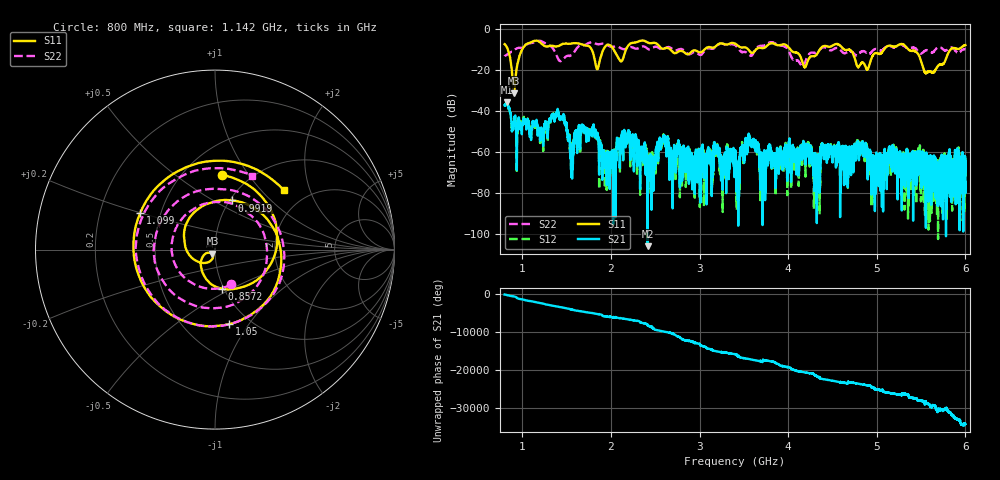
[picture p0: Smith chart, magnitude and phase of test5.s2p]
!Keysight Technologies N9923A: A.08.15
!Date: Friday, 16 February 2024 23:04:52
!Timezone: (GMT-05:00) Eastern Time (US & Canada)
!Model: N9923A
!Serial: MY52412730
!GPS Latitude:
!GPS Longitude:
!GPS TimeStamp: 0001-01-01 00:00:00Z
!GPS Seconds Since Last Read: 0
!CHECKSUM:0212814817
!Correction: S11(ON Q)S21(ON Q)S12(ON Q)S22(ON Q)
!S2P File: Measurements:S11,S21,S12,S22:
# Hz S DB R 50
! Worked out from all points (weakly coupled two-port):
!   10001 points, 800 MHz to 6 GHz, reference 50 ohm
!   highest |S21| = -35.91 dB at 827 MHz (marker M1); lowest = -105.9 dB at 2.415 GHz (marker M2)
!   lowest |S11| = -31.4 dB at 907.6 MHz (marker M3), VSWR 1.06, Z = 48.5 - j2.22 ohm
!   |S11| at or under -10 dB: 2.667 GHz to 3.06 GHz (393.4 MHz wide, 13.7 % of centre); 4.625 GHz to 5.085 GHz (460.2 MHz wide, 9.48 % of centre); 5.353 GHz to 5.838 GHz (485 MHz wide, 8.67 % of centre) (the widest 3 of 8)
!   |S22| runs from -18.7 to -6.0 dB; largest |S21 - S12| = 0.0015
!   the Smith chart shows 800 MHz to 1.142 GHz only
!   S11 on the Smith chart (normalised r, x): 800 MHz: 0.76, +0.76; 857.2 MHz: 0.98, -0.45; 991.9 MHz: 1.02, +0.61; 1.05 GHz: 0.80, -0.81; 1.099 GHz: 0.38, +0.20; 1.142 GHz: 1.52, +1.35
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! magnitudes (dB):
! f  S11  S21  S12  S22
! 800 MHz  -7.6  -37.4  -37.6  -13.4
! 827 MHz  -9.2  -35.9  -36.5  -12.7
! 857.2 MHz  -13.1  -39.6  -40.2  -11.9
! 907.6 MHz  -31.4  -46.5  -46.3  -10.6
! 991.9 MHz  -10.8  -49.5  -46.9  -9.4
! 1.05 GHz  -7.5  -47.3  -47.9  -7.7
! 1.099 GHz  -6.7  -53.9  -52.1  -7.1
! 1.142 GHz  -5.9  -46.2  -47.6  -6.7
! 1.453 GHz  -7.5  -44.3  -43.5  -15.2
! 1.56 GHz  -7.3  -65.9  -62.4  -12.8
! 1.667 GHz  -7.7  -46.9  -47.3  -8.1
! 1.847 GHz  -19.7  -51.3  -50.7  -7.6
! 2.415 GHz  -6.8  -105.9  -82.4  -9.9
! 2.534 GHz  -8.0  -60.1  -61.3  -9.3
! 3.4 GHz  -7.3  -64.3  -61.0  -8.0
! 3.57 GHz  -11.2  -54.0  -55.3  -13.0
! 3.7 GHz  -9.5  -65.3  -62.1  -8.4
! 4.267 GHz  -13.4  -61.1  -60.3  -11.7
! 4.892 GHz  -20.0  -61.3  -61.6  -12.0
! 5.134 GHz  -8.3  -60.8  -63.1  -8.4
! 5.564 GHz  -21.4  -64.9  -69.7  -10.5
! 6 GHz  -8.0  -74.9  -68.0  -10.2
